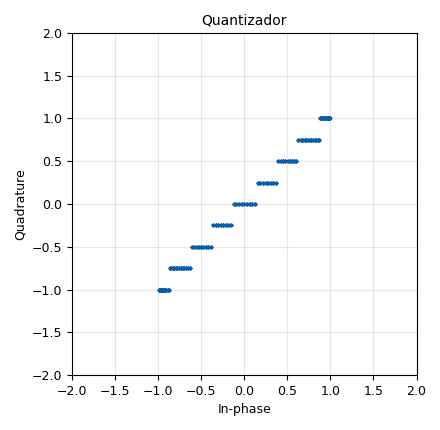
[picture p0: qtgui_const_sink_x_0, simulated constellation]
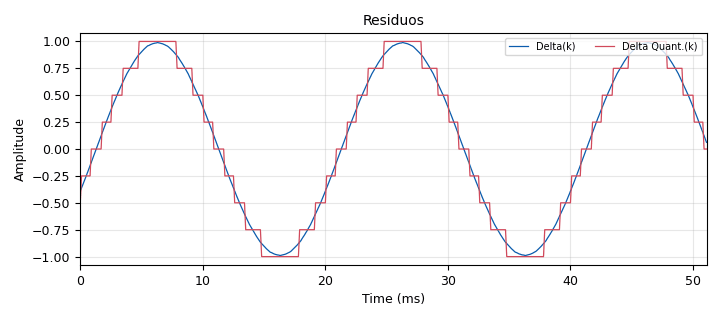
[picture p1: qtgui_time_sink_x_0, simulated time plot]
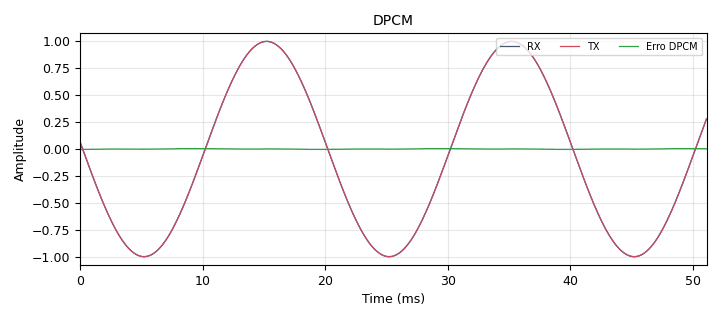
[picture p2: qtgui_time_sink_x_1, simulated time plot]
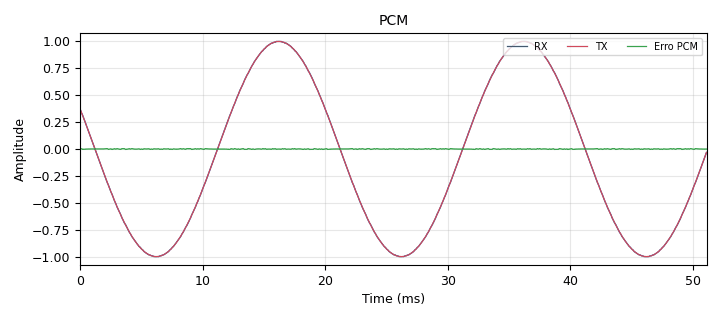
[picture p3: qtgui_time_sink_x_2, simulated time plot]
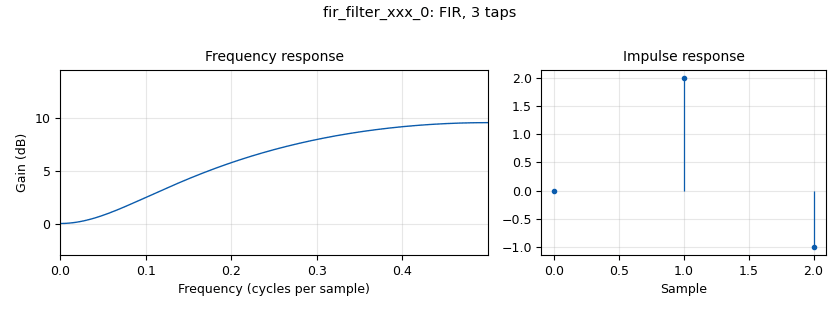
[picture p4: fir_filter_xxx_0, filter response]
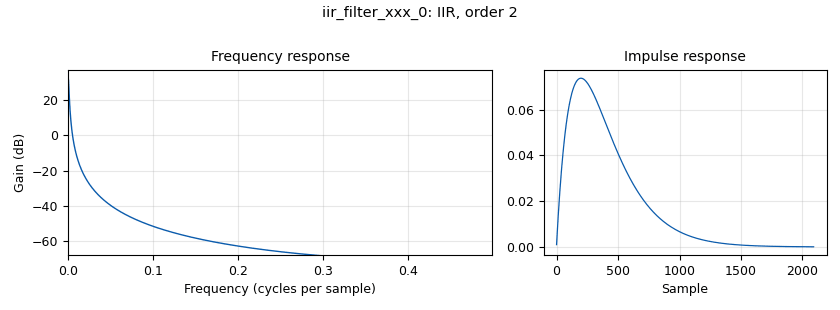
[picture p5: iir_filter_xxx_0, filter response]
options:
  parameters:
    author: pedro
    generate_options: qt_gui
    id: m160001986_Exp08_AR02
    output_language: python
    title: AR02
  states: {}

blocks:
- name: K
  id: variable_qtgui_range
  parameters:
    gui_hint: (7,1,1,1)
    orient: Qt.Horizontal
    start: '0'
    step: '1'
    stop: '2000'
    value: '1000'
  states: {}
- name: atraso
  id: variable_qtgui_range
  parameters:
    gui_hint: (8,1,1,1)
    orient: Qt.Horizontal
    start: '0'
    step: '1'
    stop: '200'
    value: '190'
  states: {}
- name: samp_rate
  id: variable
  parameters:
    value: '10000'
  states: {}
- name: analog_sig_source_x_0
  id: analog_sig_source_x
  parameters:
    amp: '1'
    freq: '50'
    offset: '0'
    phase: '0'
    samp_rate: samp_rate
    type: float
    waveform: analog.GR_SIN_WAVE
  states: {}
- name: blocks_delay_0
  id: blocks_delay
  parameters:
    delay: atraso
    type: float
  states: {}
- name: blocks_divide_xx_0
  id: blocks_divide_xx
  parameters:
    type: float
  states: {}
- name: blocks_divide_xx_1
  id: blocks_divide_xx
  parameters:
    type: float
  states: {}
- name: blocks_float_to_complex_0
  id: blocks_float_to_complex
  parameters: {}
  states: {}
- name: blocks_multiply_const_vxx_0
  id: blocks_multiply_const_vxx
  parameters:
    const: K
    type: float
  states: {}
- name: blocks_nlog10_ff_0
  id: blocks_nlog10_ff
  parameters:
    k: '0'
    n: '20'
  states: {}
- name: blocks_nlog10_ff_0_0
  id: blocks_nlog10_ff
  parameters:
    k: '0'
    n: '20'
  states: {}
- name: blocks_rms_xx_0
  id: blocks_rms_xx
  parameters:
    alpha: '0.0001'
    type: float
  states: {}
- name: blocks_rms_xx_1
  id: blocks_rms_xx
  parameters:
    alpha: '0.0001'
    type: float
  states: {}
- name: blocks_rms_xx_1_0
  id: blocks_rms_xx
  parameters:
    alpha: '0.0001'
    type: float
  states: {}
- name: blocks_rms_xx_1_0_0
  id: blocks_rms_xx
  parameters:
    alpha: '0.0001'
    type: float
  states: {}
- name: blocks_sub_xx_0
  id: blocks_sub_xx
  parameters:
    type: float
  states: {}
- name: blocks_sub_xx_1
  id: blocks_sub_xx
  parameters:
    type: float
  states: {}
- name: blocks_sub_xx_2
  id: blocks_sub_xx
  parameters:
    type: float
  states: {}
- name: blocks_throttle_0
  id: blocks_throttle
  parameters:
    samples_per_second: samp_rate
    type: float
  states: {}
- name: channels_quantizer_0
  id: channels_quantizer
  parameters:
    bits: '8'
  states: {}
- name: channels_quantizer_1
  id: channels_quantizer
  parameters:
    bits: '3'
  states: {}
- name: fir_filter_xxx_0
  id: fir_filter_xxx
  parameters:
    decim: '1'
    taps: '[0,2,-1]'
    type: fff
  states: {}
- name: iir_filter_xxx_0
  id: iir_filter_xxx
  parameters:
    fbtaps: '[1.0, -1.99, 0.990025]'
    fftaps: '[1.0/K]'
    oldstyle: 'False'
    type: ffd
  states: {}
- name: import_0
  id: import
  parameters:
    imports: import numpy as np
  states: {}
- name: qtgui_const_sink_x_0
  id: qtgui_const_sink_x
  parameters:
    grid: 'True'
    gui_hint: (4,2,3,1)
    name: Quantizador
    size: '1024'
    type: complex
  states: {}
- name: qtgui_number_sink_0
  id: qtgui_number_sink
  parameters:
    graph_type: qtgui.NUM_GRAPH_HORIZ
    gui_hint: (7,2,1,1)
    name: SNR DPCM
    type: float
  states: {}
- name: qtgui_number_sink_1
  id: qtgui_number_sink
  parameters:
    graph_type: qtgui.NUM_GRAPH_HORIZ
    gui_hint: (8,2,1,1)
    name: SNR PCM
    type: float
  states: {}
- name: qtgui_time_sink_x_0
  id: qtgui_time_sink_x
  parameters:
    grid: 'True'
    gui_hint: (4,1,3,1)
    label1: Delta(k)
    label2: Delta Quant.(k)
    name: Residuos
    nconnections: '2'
    size: '512'
    srate: samp_rate
    type: float
  states: {}
- name: qtgui_time_sink_x_1
  id: qtgui_time_sink_x
  parameters:
    gui_hint: (1,2,3,1)
    label1: RX
    label2: TX
    label3: Erro DPCM
    name: DPCM
    nconnections: '3'
    size: '512'
    srate: samp_rate
    type: float
  states: {}
- name: qtgui_time_sink_x_2
  id: qtgui_time_sink_x
  parameters:
    gui_hint: (1,1,3,1)
    label1: RX
    label2: TX
    label3: Erro PCM
    name: PCM
    nconnections: '3'
    size: '512'
    srate: samp_rate
    type: float
  states: {}
- name: virtual_sink_0
  id: virtual_sink
  parameters:
    stream_id: msg
  states: {}
- name: virtual_sink_1
  id: virtual_sink
  parameters:
    stream_id: msg_quantizada
  states: {}
- name: virtual_sink_2
  id: virtual_sink
  parameters:
    stream_id: diff
  states: {}
- name: virtual_sink_3
  id: virtual_sink
  parameters:
    stream_id: diff_quantizada
  states: {}
- name: virtual_sink_3_0
  id: virtual_sink
  parameters:
    stream_id: erro_DPCM
  states: {}
- name: virtual_source_0
  id: virtual_source
  parameters:
    stream_id: diff
  states: {}
- name: virtual_source_1
  id: virtual_source
  parameters:
    stream_id: diff_quantizada
  states: {}
- name: virtual_source_1_0
  id: virtual_source
  parameters:
    stream_id: diff_quantizada
  states: {}
- name: virtual_source_1_0_0
  id: virtual_source
  parameters:
    stream_id: msg
  states: {}
- name: virtual_source_1_0_0_0
  id: virtual_source
  parameters:
    stream_id: msg_quantizada
  states: {}
- name: virtual_source_2
  id: virtual_source
  parameters:
    stream_id: msg
  states: {}
- name: virtual_source_3
  id: virtual_source
  parameters:
    stream_id: erro_DPCM
  states: {}

connections:
- [analog_sig_source_x_0, '0', blocks_throttle_0, '0']
- [blocks_delay_0, '0', blocks_rms_xx_0, '0']
- [blocks_delay_0, '0', blocks_sub_xx_1, '1']
- [blocks_delay_0, '0', qtgui_time_sink_x_1, '1']
- [blocks_divide_xx_0, '0', blocks_nlog10_ff_0, '0']
- [blocks_divide_xx_1, '0', blocks_nlog10_ff_0_0, '0']
- [blocks_float_to_complex_0, '0', qtgui_const_sink_x_0, '0']
- [blocks_multiply_const_vxx_0, '0', channels_quantizer_1, '0']
- [blocks_multiply_const_vxx_0, '0', virtual_sink_2, '0']
- [blocks_nlog10_ff_0, '0', qtgui_number_sink_0, '0']
- [blocks_nlog10_ff_0_0, '0', qtgui_number_sink_1, '0']
- [blocks_rms_xx_0, '0', blocks_divide_xx_0, '0']
- [blocks_rms_xx_1, '0', blocks_divide_xx_0, '1']
- [blocks_rms_xx_1_0, '0', blocks_divide_xx_1, '1']
- [blocks_rms_xx_1_0_0, '0', blocks_divide_xx_1, '0']
- [blocks_sub_xx_0, '0', blocks_multiply_const_vxx_0, '0']
- [blocks_sub_xx_1, '0', qtgui_time_sink_x_1, '2']
- [blocks_sub_xx_1, '0', virtual_sink_3_0, '0']
- [blocks_sub_xx_2, '0', blocks_rms_xx_1_0, '0']
- [blocks_sub_xx_2, '0', qtgui_time_sink_x_2, '2']
- [blocks_throttle_0, '0', blocks_sub_xx_0, '0']
- [blocks_throttle_0, '0', channels_quantizer_0, '0']
- [blocks_throttle_0, '0', fir_filter_xxx_0, '0']
- [blocks_throttle_0, '0', virtual_sink_0, '0']
- [channels_quantizer_0, '0', virtual_sink_1, '0']
- [channels_quantizer_1, '0', virtual_sink_3, '0']
- [fir_filter_xxx_0, '0', blocks_sub_xx_0, '1']
- [iir_filter_xxx_0, '0', blocks_sub_xx_1, '0']
- [iir_filter_xxx_0, '0', qtgui_time_sink_x_1, '0']
- [virtual_source_0, '0', blocks_float_to_complex_0, '0']
- [virtual_source_0, '0', qtgui_time_sink_x_0, '0']
- [virtual_source_1, '0', blocks_float_to_complex_0, '1']
- [virtual_source_1, '0', qtgui_time_sink_x_0, '1']
- [virtual_source_1_0, '0', iir_filter_xxx_0, '0']
- [virtual_source_1_0_0, '0', blocks_delay_0, '0']
- [virtual_source_1_0_0, '0', blocks_sub_xx_2, '0']
- [virtual_source_1_0_0, '0', qtgui_time_sink_x_2, '1']
- [virtual_source_1_0_0_0, '0', blocks_sub_xx_2, '1']
- [virtual_source_1_0_0_0, '0', qtgui_time_sink_x_2, '0']
- [virtual_source_2, '0', blocks_rms_xx_1_0_0, '0']
- [virtual_source_3, '0', blocks_rms_xx_1, '0']

metadata:
  file_format: 1
